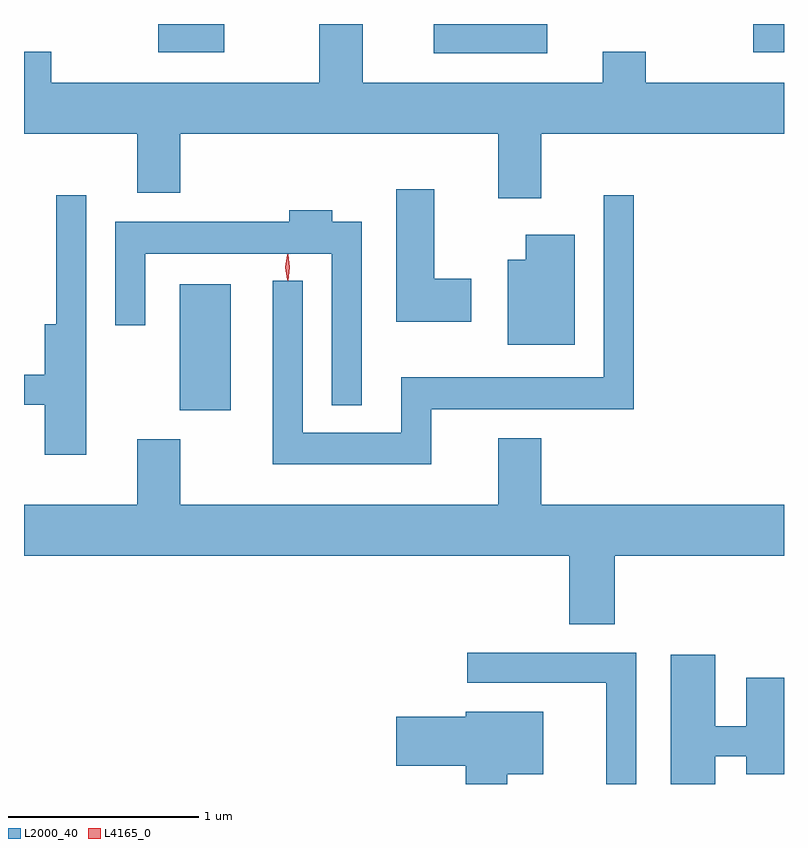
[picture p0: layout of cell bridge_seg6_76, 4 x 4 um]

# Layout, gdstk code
import gdstk
lib = gdstk.Library(unit=1e-6, precision=1e-09)
def R(c, l, rs):  # rectangles x0, y0, x1, y1
    for r in rs: c.add(gdstk.rectangle(r[:2], r[2:], *l))
def P(c, l, *ps):  # polygons
    for p in ps: c.add(gdstk.Polygon(p, *l))
L2000_40 = (2000, 40)
L4165_0 = (4165, 0)

bridge_seg6_76 = lib.new_cell('bridge_seg6_76')
R(bridge_seg6_76, L2000_40, [(1288.266,1652.921,1288.534,1653.584), (1289.603,1654.801,1290.199,1654.954), (1288.153,1654.806,1288.499,1654.954), (1291.283,1654.806,1291.446,1654.954)])
P(bridge_seg6_76, L2000_40, [(1290.169,1654.376),(1291.446,1654.376),(1291.446,1654.644),(1290.719,1654.644),(1290.719,1654.809),(1290.491,1654.809),(1290.491,1654.644),(1289.229,1654.644),(1289.229,1654.954),(1289.001,1654.954),(1289.001,1654.644),(1287.589,1654.644),(1287.589,1654.809),(1287.446,1654.809),(1287.446,1654.376),(1288.041,1654.376),(1288.041,1654.066),(1288.269,1654.066),(1288.269,1654.376),(1289.941,1654.376),(1289.941,1654.036),(1290.169,1654.036)],
  [(1289.799,1653.614),(1289.604,1653.614),(1289.604,1654.084),(1289.406,1654.084),(1289.406,1653.386),(1289.799,1653.386)],
  [(1289.589,1652.926),(1290.654,1652.926),(1290.654,1654.053),(1290.496,1654.053),(1290.496,1653.094),(1289.431,1653.094),(1289.431,1652.804),(1288.914,1652.804),(1288.914,1653.603),(1288.756,1653.603),(1288.756,1652.636),(1289.589,1652.636)],
  [(1287.774,1654.053),(1287.616,1654.053),(1287.616,1653.374),(1287.556,1653.374),(1287.556,1653.109),(1287.446,1653.109),(1287.446,1652.951),(1287.556,1652.951),(1287.556,1652.686),(1287.774,1652.686)],
  [(1289.224,1653.914),(1289.069,1653.914),(1289.069,1653.974),(1288.841,1653.974),(1288.841,1653.914),(1287.926,1653.914),(1287.926,1653.368),(1288.084,1653.368),(1288.084,1653.746),(1289.066,1653.746),(1289.066,1652.948),(1289.224,1652.948)],
  [(1290.344,1653.844),(1290.086,1653.844),(1290.086,1653.714),(1289.991,1653.714),(1289.991,1653.266),(1290.344,1653.266)],
  [(1290.554,1652.156),(1291.446,1652.156),(1291.446,1652.424),(1290.169,1652.424),(1290.169,1652.774),(1289.941,1652.774),(1289.941,1652.424),(1288.269,1652.424),(1288.269,1652.769),(1288.041,1652.769),(1288.041,1652.424),(1287.446,1652.424),(1287.446,1652.156),(1290.316,1652.156),(1290.316,1651.796),(1290.554,1651.796)],
  [(1290.669,1651.644),(1289.778,1651.644),(1289.778,1651.486),(1290.511,1651.486),(1290.511,1650.954),(1290.669,1650.954)],
  [(1291.084,1651.101),(1291.246,1651.101),(1291.246,1651.006),(1291.446,1651.006),(1291.446,1651.514),(1291.246,1651.514),(1291.246,1651.259),(1291.084,1651.259),(1291.084,1651.634),(1290.851,1651.634),(1290.851,1650.954),(1291.084,1650.954)],
  [(1289.989,1651.006),(1290.179,1651.006),(1290.179,1651.334),(1289.771,1651.334),(1289.771,1651.309),(1289.406,1651.309),(1289.406,1651.051),(1289.771,1651.051),(1289.771,1650.954),(1289.989,1650.954)])
P(bridge_seg6_76, L4165_0, [(1288.831,1653.607),(1288.822,1653.674),(1288.831,1653.74),(1288.832,1653.74),(1288.832,1653.74),(1288.842,1653.674),(1288.832,1653.607),(1288.832,1653.607)],
  [(1288.834,1653.604),(1288.825,1653.674),(1288.834,1653.742),(1288.835,1653.743),(1288.836,1653.742),(1288.845,1653.674),(1288.836,1653.604),(1288.835,1653.604)])

lib.write_gds('bridge_seg6_76.gds')
